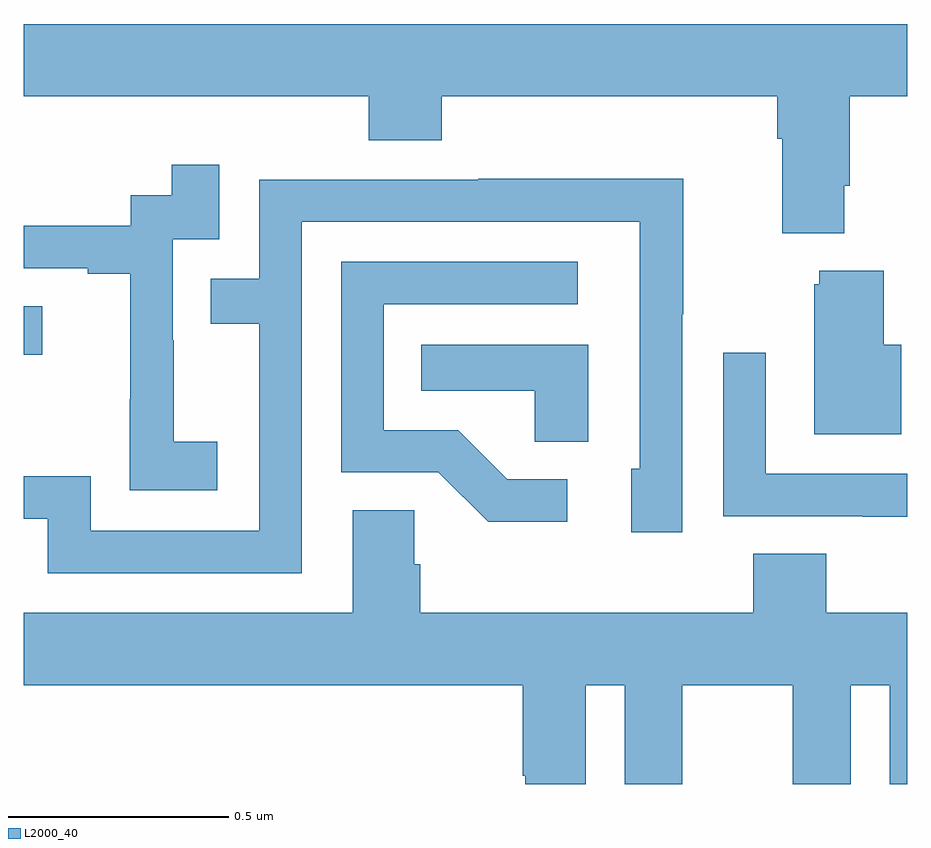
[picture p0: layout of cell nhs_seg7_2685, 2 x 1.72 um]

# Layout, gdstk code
import gdstk
lib = gdstk.Library(unit=1e-6, precision=1e-09)
def R(c, l, rs):  # rectangles x0, y0, x1, y1
    for r in rs: c.add(gdstk.rectangle(r[:2], r[2:], *l))
def P(c, l, *ps):  # polygons
    for p in ps: c.add(gdstk.Polygon(p, *l))
L2000_40 = (2000, 40)

nhs_seg7_2685 = lib.new_cell('nhs_seg7_2685')
R(nhs_seg7_2685, L2000_40, [(148,1059.971,148.042,1060.081)])
P(nhs_seg7_2685, L2000_40, [(149.857,1060.354),(149.87,1060.354),(149.87,1060.556),(150,1060.556),(150,1060.72),(148,1060.72),(148,1060.556),(148.781,1060.556),(148.781,1060.457),(148.946,1060.457),(148.946,1060.556),(149.705,1060.556),(149.705,1060.46),(149.717,1060.46),(149.717,1060.247),(149.857,1060.247)],
  [(148.438,1059.775),(148.34,1059.775),(148.34,1060.004),(148.338,1060.004),(148.338,1060.233),(148.443,1060.233),(148.443,1060.402),(148.335,1060.402),(148.335,1060.332),(148.242,1060.332),(148.242,1060.263),(148,1060.263),(148,1060.167),(148.145,1060.167),(148.145,1060.155),(148.241,1060.155),(148.241,1059.871),(148.24,1059.871),(148.24,1059.665),(148.438,1059.665)],
  [(148.629,1060.272),(149.394,1060.272),(149.394,1059.714),(149.375,1059.714),(149.375,1059.57),(149.49,1059.57),(149.49,1060.063),(149.493,1060.063),(149.493,1060.37),(149.029,1060.37),(149.029,1060.368),(148.533,1060.368),(148.533,1060.143),(148.423,1060.143),(148.423,1060.042),(148.533,1060.042),(148.533,1059.573),(148.152,1059.573),(148.152,1059.696),(148,1059.696),(148,1059.6),(148.055,1059.6),(148.055,1059.477),(148.629,1059.477)],
  [(149.23,1059.69),(149.095,1059.69),(148.984,1059.801),(148.815,1059.801),(148.815,1060.086),(149.254,1060.086),(149.254,1060.182),(148.719,1060.182),(148.719,1059.705),(148.938,1059.705),(149.051,1059.593),(149.23,1059.593)],
  [(149.986,1059.994),(149.947,1059.994),(149.947,1060.162),(149.801,1060.162),(149.801,1060.131),(149.789,1060.131),(149.789,1059.791),(149.986,1059.791)],
  [(149.278,1059.994),(148.9,1059.994),(148.9,1059.89),(149.157,1059.89),(149.157,1059.775),(149.278,1059.775)],
  [(150,1059.702),(149.679,1059.702),(149.679,1059.976),(149.583,1059.976),(149.583,1059.606),(149.899,1059.606),(149.899,1059.605),(150,1059.605)],
  [(149.272,1059.224),(149.36,1059.224),(149.36,1059),(149.491,1059),(149.491,1059.224),(149.741,1059.224),(149.741,1059),(149.872,1059),(149.872,1059.224),(149.96,1059.224),(149.96,1059),(150,1059),(150,1059.388),(149.816,1059.388),(149.816,1059.521),(149.651,1059.521),(149.651,1059.388),(148.898,1059.388),(148.898,1059.497),(148.884,1059.497),(148.884,1059.62),(148.745,1059.62),(148.745,1059.388),(148,1059.388),(148,1059.224),(149.129,1059.224),(149.129,1059.019),(149.135,1059.019),(149.135,1059),(149.272,1059)])

lib.write_gds('nhs_seg7_2685.gds')
